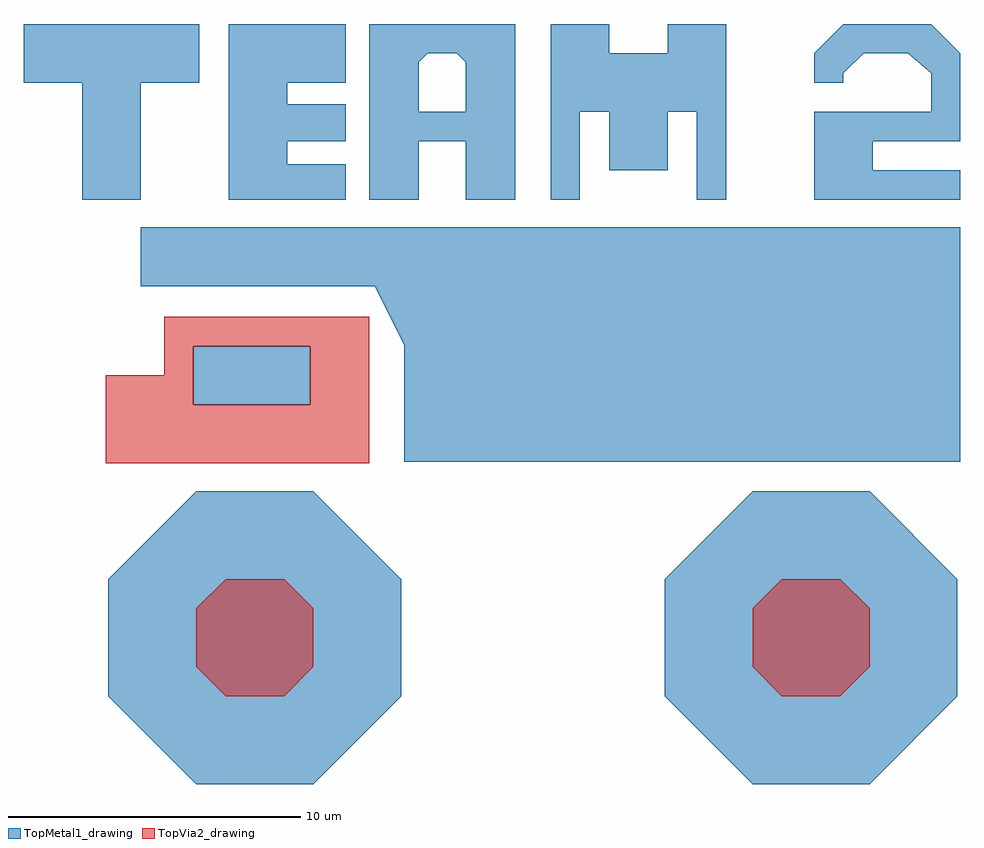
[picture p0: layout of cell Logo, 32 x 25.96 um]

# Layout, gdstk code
import gdstk
lib = gdstk.Library(unit=1e-6, precision=1e-09)
def R(c, l, rs):  # rectangles x0, y0, x1, y1
    for r in rs: c.add(gdstk.rectangle(r[:2], r[2:], *l))
def P(c, l, *ps):  # polygons
    for p in ps: c.add(gdstk.Polygon(p, *l))
TopMetal1_drawing = (126, 0)
TopVia2_drawing = (133, 0)

logo = lib.new_cell('Logo')
R(logo, TopMetal1_drawing, [(-9.2,0.49,-5.2,2.49)])
P(logo, TopMetal1_drawing, [(-8,7.49),(-8,13.49),(-4,13.49),(-4,11.49),(-6,11.49),(-6,10.75),(-4,10.75),(-4,9.49),(-6,9.49),(-6,8.7),(-4,8.7),(-4,7.49)],
  [(-3.2,7.49),(-3.2,12.49),(-1.2,12.49),(-1.5,12.19),(-1.5,10.49),(0.105,10.49),(0.105,12.185),(-0.2,12.49),(-3.2,12.49),(-3.2,13.49),(1.8,13.49),(1.8,7.49),(0.105,7.49),(0.105,9.49),(-1.5,9.49),(-1.5,7.49)],
  [(-13,7.49),(-13,11.49),(-15,11.49),(-15,13.49),(-9,13.49),(-9,11.49),(-11,11.49),(-11,7.49)],
  [(12,7.49),(12,10.49),(16,10.49),(16,11.804),(15.206,12.49),(13.7,12.49),(13,11.8),(13,11.49),(12,11.49),(12,12.49),(13,13.49),(16,13.49),(17,12.49),(17,9.49),(14,9.49),(14,8.49),(17,8.49),(17,7.49)],
  [(3,7.49),(3,13.49),(5,13.49),(5,12.49),(7,12.49),(7,13.49),(9,13.49),(9,7.49),(8,7.49),(8,10.49),(7,10.49),(7,8.49),(5,8.49),(5,10.49),(4,10.49),(4,7.49)],
  [(-2,-1.46),(-2,2.54),(-3,4.54),(-11,4.54),(-11,6.54),(17,6.54),(17,-1.46)],
  [(-9.1,-12.47),(-12.1,-9.47),(-12.1,-5.47),(-9.1,-2.47),(-5.1,-2.47),(-2.1,-5.47),(-2.1,-9.47),(-5.1,-12.47)],
  [(9.9,-12.47),(6.9,-9.47),(6.9,-5.47),(9.9,-2.47),(13.9,-2.47),(16.9,-5.47),(16.9,-9.47),(13.9,-12.47)])
P(logo, TopVia2_drawing, [(-12.2,-1.51),(-12.2,1.49),(-10.2,1.49),(-10.2,2.49),(-9.2,2.49),(-9.2,0.49),(-5.2,0.49),(-5.2,2.49),(-10.2,2.49),(-10.2,3.49),(-3.2,3.49),(-3.2,-1.51)],
  [(-8.1,-9.47),(-9.1,-8.47),(-9.1,-6.47),(-8.1,-5.47),(-6.1,-5.47),(-5.1,-6.47),(-5.1,-8.47),(-6.1,-9.47)],
  [(10.9,-9.47),(9.9,-8.47),(9.9,-6.47),(10.9,-5.47),(12.9,-5.47),(13.9,-6.47),(13.9,-8.47),(12.9,-9.47)])

lib.write_gds('Logo.gds')
